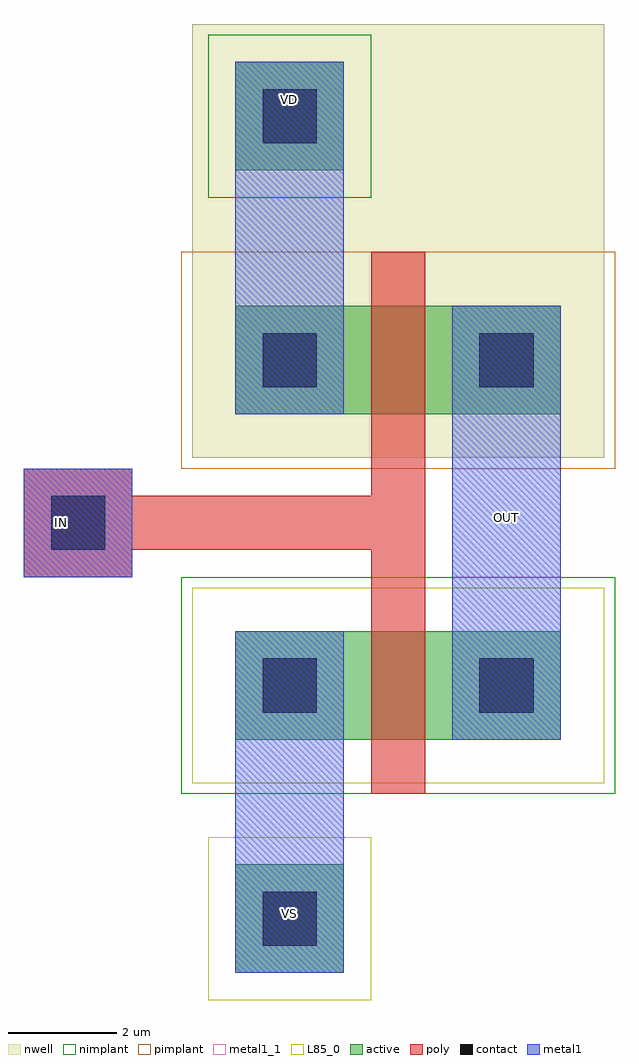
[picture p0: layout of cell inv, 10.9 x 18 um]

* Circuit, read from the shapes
.subckt inv IN OUT VD VS
M1 OUT IN VS VS nfet w=2u l=1u
M2 OUT IN VD VD pfet w=2u l=1u
.ends

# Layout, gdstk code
import gdstk
lib = gdstk.Library(unit=1e-6, precision=5e-10)
def R(c, l, rs):  # rectangles x0, y0, x1, y1
    for r in rs: c.add(gdstk.rectangle(r[:2], r[2:], *l))
active = (1, 0)
nwell = (2, 0)
poly = (3, 0)
nimplant = (4, 0)
pimplant = (5, 0)
contact = (6, 0)
metal1 = (7, 0)
metal1_1 = (7, 1)
L85_0 = (85, 0)

nmos4 = lib.new_cell('nmos4')
R(nmos4, active, [(1,1,7,3)])
R(nmos4, poly, [(3.5,0,4.5,4), (3.6,3.4,4.4,3.9)])
R(nmos4, nimplant, [(0,0,8,4)])
R(nmos4, contact, [(1.5,1.5,2.5,2.5), (5.5,1.5,6.5,2.5)])
R(nmos4, metal1, [(1,1,3,3), (5,1,7,3), (1.3,1.3,2.7,2.7), (5.3,1.3,6.7,2.7)])
R(nmos4, L85_0, [(0.2,0.2,7.8,3.8)])

pmos4 = lib.new_cell('pmos4')
R(pmos4, active, [(1,1,7,3)])
R(pmos4, nwell, [(0.2,0.2,7.8,3.8)])
R(pmos4, poly, [(3.5,0,4.5,4), (3.6,3.5,4.4,3.9)])
R(pmos4, pimplant, [(0,0,8,4)])
R(pmos4, contact, [(1.5,1.5,2.5,2.5), (5.5,1.5,6.5,2.5)])
R(pmos4, metal1, [(1,1,3,3), (5,1,7,3), (1.3,1.3,2.7,2.7), (5.3,1.3,6.7,2.7)])

m1_po_cdns_1 = lib.new_cell('M1_PO_CDNS_1')
R(m1_po_cdns_1, poly, [(-1,-1,1,1)])
R(m1_po_cdns_1, contact, [(-0.5,-0.5,0.5,0.5)])
R(m1_po_cdns_1, metal1, [(-1,-1,1,1)])

m1_psub_cdns_2 = lib.new_cell('M1_PSUB_CDNS_2')
R(m1_psub_cdns_2, active, [(-1,-1,1,1)])
R(m1_psub_cdns_2, pimplant, [(-1.5,-1.5,1.5,1.5)])
R(m1_psub_cdns_2, contact, [(-0.5,-0.5,0.5,0.5)])
R(m1_psub_cdns_2, metal1, [(-1,-1,1,1)])
R(m1_psub_cdns_2, L85_0, [(-1.5,-1.5,1.5,1.5)])

m1_nwell_cdns_3 = lib.new_cell('M1_NWELL_CDNS_3')
R(m1_nwell_cdns_3, active, [(-1,-1,1,1)])
R(m1_nwell_cdns_3, nwell, [(-1.5,-1.5,1.5,1.5)])
R(m1_nwell_cdns_3, nimplant, [(-1.5,-1.5,1.5,1.5)])
R(m1_nwell_cdns_3, contact, [(-0.5,-0.5,0.5,0.5)])
R(m1_nwell_cdns_3, metal1, [(-1,-1,1,1)])

inv = lib.new_cell('inv')
R(inv, nwell, [(4.1,13.6,11.7,18)])
R(inv, poly, [(7.4,7.1,8.4,13.8), (7.4,7.6,8.4,10)])
R(inv, metal1, [(4.9,0.5,6.9,6.8), (8.9,4.8,10.9,12.8), (1,7.8,3,9.8), (4.9,10.8,6.9,17.3)])
R(inv, metal1_1, [(4.9,0.5,6.9,2.5), (1,7.8,3,9.8), (8.9,7.8,10.9,9.8), (4.9,15.3,6.9,17.3)])
inv.add(gdstk.FlexPath([(7.9,8.8),(2.2,8.8)], 1, ends="flush", simple_path=True, layer=3, datatype=0))  # poly
inv.add(gdstk.Reference(nmos4, (3.9,3.8)))
inv.add(gdstk.Reference(pmos4, (3.9,9.8)))
inv.add(gdstk.Reference(m1_po_cdns_1, (2,8.8)))
inv.add(gdstk.Reference(m1_psub_cdns_2, (5.9,1.5)))
inv.add(gdstk.Reference(m1_nwell_cdns_3, (5.9,16.3)))
inv.add(gdstk.Label('IN', (1.7,8.8), layer=7, texttype=3))
inv.add(gdstk.Label('VS', (5.9,1.6), layer=7, texttype=3))
inv.add(gdstk.Label('OUT', (9.9,8.9), layer=7, texttype=3))
inv.add(gdstk.Label('VD', (5.9,16.6), layer=7, texttype=3))

lib.write_gds('inv.gds')
